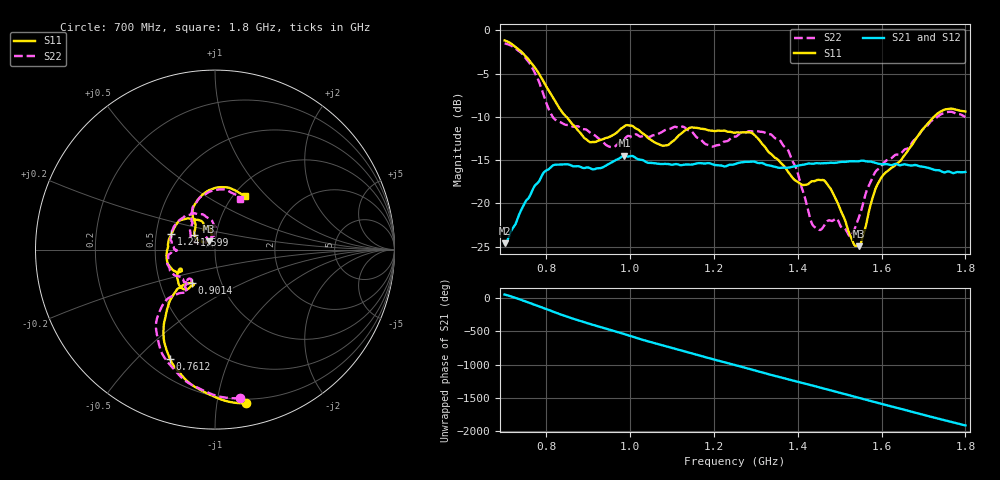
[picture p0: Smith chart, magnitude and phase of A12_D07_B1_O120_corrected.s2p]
! Created with skrf 1.9.0 (http://scikit-rf.org).
# Hz S RI R 50.0
!freq ReS11 ImS11 ReS21 ImS21 ReS12 ImS12 ReS22 ImS22
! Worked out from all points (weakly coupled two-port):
!   1601 points, 700 MHz to 1.8 GHz, reference 50 ohm
!   highest |S21| = -14.49 dB at 986 MHz (marker M1); lowest = -24.6 dB at 700.7 MHz (marker M2)
!   lowest |S11| = -24.9 dB at 1.546 GHz (marker M3), VSWR 1.12, Z = 46.6 + j4.28 ohm
!   |S11| at or under -10 dB: 847.6 MHz to 1.725 GHz (877.1 MHz wide, 68.2 % of centre)
!   |S22| runs from -23.8 to -1.5 dB; largest |S21 - S12| = 0.0036
!   S11 on the Smith chart (normalised r, x): 700 MHz: 0.17, -1.21; 761.2 MHz: 0.29, -0.63; 901.4 MHz: 0.72, -0.28; 1.24 GHz: 0.60, +0.11; 1.599 GHz: 0.79, +0.13; 1.8 GHz: 1.13, +0.76
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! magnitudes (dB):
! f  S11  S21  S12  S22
! 700 MHz  -1.2  -24.6  -24.4  -1.5
! 700.7 MHz  -1.2  -24.6  -24.3  -1.5
! 761.2 MHz  -3.6  -19.0  -18.9  -3.9
! 816.9 MHz  -7.9  -15.6  -15.7  -10.1
! 883.6 MHz  -12.0  -15.8  -15.7  -11.3
! 901.4 MHz  -12.9  -15.9  -15.9  -11.7
! 986 MHz  -11.1  -14.5  -14.6  -12.6
! 1.067 GHz  -13.1  -15.4  -15.4  -12.0
! 1.145 GHz  -11.2  -15.5  -15.5  -11.7
! 1.195 GHz  -11.6  -15.5  -15.4  -13.4
! 1.24 GHz  -11.7  -15.5  -15.6  -12.4
! 1.25 GHz  -11.8  -15.5  -15.4  -12.3
! 1.358 GHz  -15.2  -15.9  -15.9  -12.7
! 1.396 GHz  -17.4  -15.7  -15.7  -15.9
! 1.434 GHz  -17.4  -15.4  -15.4  -22.3
! 1.472 GHz  -17.9  -15.3  -15.3  -22.0
! 1.526 GHz  -23.8  -15.1  -15.1  -23.8
! 1.546 GHz  -24.9  -15.1  -15.1  -21.5
! 1.599 GHz  -17.1  -15.5  -15.4  -15.7
! 1.617 GHz  -16.2  -15.5  -15.5  -14.9
! 1.733 GHz  -9.6  -16.1  -16.2  -10.0
! 1.8 GHz  -9.4  -16.4  -16.4  -10.0
